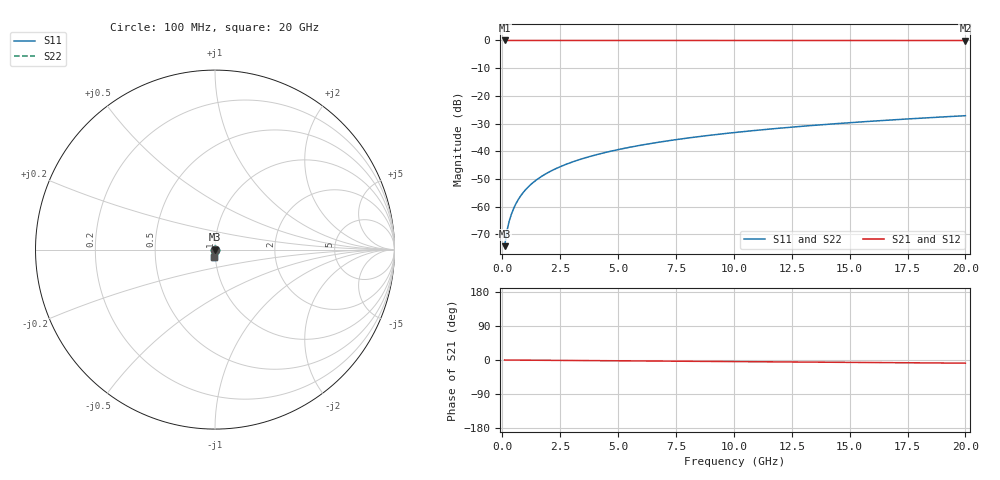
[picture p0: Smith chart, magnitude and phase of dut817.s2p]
! Touchstone file exported from HFSS 2026.1.0
!  File:  C:/ffzhzh/LocalFiles/Ansys_Project_Files/temp_train_TSV_817_1783184438_55132.aedt
!  Generated:  01:01:55 AM Jul  5, 2026
!  Design:  TSV
!  Project:  temp_train_TSV_817_1783184438_55132
! Variables:
!  h_bsmrdl = 2um
!  h_ox = 20um
!  h_rdl = 5um
!  h_sub = 81.97um
!  h_tmrdl = 5um
!  h_tsv = 81.97um
!  h_via = 3um
!  l_bsmrdl = 300um
!  l_sub = 427.6um
!  l_tmrdl = 200um
!  m_sub = 200um
!  pitch = 42.06um
!  r_tsv = 13.8um
!  s_tmrdl = 10um
!  w_bsmrdl = 18um
!  w_sub = 500um
!  w_tmrdl = 12um
!  x_tsv_center1 = 206um
!  x_tsv_center2 = 524um
!  x_tsv_center3 = 736um
!  x_tsv_center4 = 1054um
!  x_tsv_center5 = 1266um
!  x_tsv_center6 = 1584um
# GHz S MA R 50.000000
! Terminal data exported
! Port[1] = TSV1_1_T1
! Port[2] = TSV1_1_T2
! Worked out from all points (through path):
!   200 points, 100 MHz to 20 GHz, reference 50 ohm
!   highest |S21| = 0.00 dB at 100 MHz (marker M1); lowest = 0.0 dB at 20 GHz (marker M2)
!   group delay of S21, straight-line fit = 1.15 ps
!   lowest |S11| = -74.3 dB at 100 MHz (marker M3), VSWR 1.00, Z = 50 - j0.0174 ohm
!   |S11| at or under -10 dB: start of sweep to end of sweep
!   |S22| runs from -74.3 to -27.2 dB; largest |S21 - S12| = 3.2e-15
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0.1  0.0001935 -63.8  0.9999 -0.0  0.9999 -0.0  0.0001935 -63.8
! Gamma 0 0 0 0
! Port Impedance 50 0 50 0
0.2  0.0003657 -74.1  0.9999 -0.1  0.9999 -0.1  0.0003657 -74.1
0.3  0.0005504 -77.2  0.9999 -0.1  0.9999 -0.1  0.0005504 -77.2
0.4  0.0007444 -78.6  0.9999 -0.2  0.9999 -0.2  0.0007444 -78.6
0.5  0.0009459 -79.6  0.9998 -0.2  0.9998 -0.2  0.0009459 -79.6
0.7  0.001364 -80.9  0.9998 -0.3  0.9998 -0.3  0.001364 -80.9
0.8  0.001577 -81.5  0.9998 -0.3  0.9998 -0.3  0.001577 -81.5
1  0.002009 -82.5  0.9997 -0.4  0.9997 -0.4  0.002009 -82.5
1.2  0.002442 -83.4  0.9997 -0.5  0.9997 -0.5  0.002442 -83.4
1.4  0.002876 -84.1  0.9997 -0.6  0.9997 -0.6  0.002876 -84.1
1.7  0.003527 -85.0  0.9996 -0.7  0.9996 -0.7  0.003527 -85.0
2  0.004177 -85.7  0.9996 -0.8  0.9996 -0.8  0.004177 -85.7
2.7  0.005694 -86.9  0.9996 -1.1  0.9996 -1.1  0.005694 -86.9
3.5  0.007432 -87.8  0.9995 -1.5  0.9995 -1.5  0.007432 -87.8
4.2  0.008957 -88.5  0.9994 -1.8  0.9994 -1.8  0.008957 -88.5
5  0.01071 -89.1  0.9994 -2.1  0.9994 -2.1  0.01071 -89.1
6.8  0.01466 -90.2  0.9992 -2.8  0.9992 -2.8  0.01466 -90.2
8.3  0.01797 -91.1  0.9991 -3.5  0.9991 -3.5  0.01797 -91.1
10.1  0.02194 -92.1  0.9989 -4.2  0.9989 -4.2  0.02194 -92.1
13.4  0.02923 -93.8  0.9986 -5.6  0.9986 -5.6  0.02923 -93.8
16.7  0.03652 -95.3  0.9983 -7.0  0.9983 -7.0  0.03652 -95.3
20  0.04381 -96.8  0.9979 -8.3  0.9979 -8.3  0.04381 -96.8
